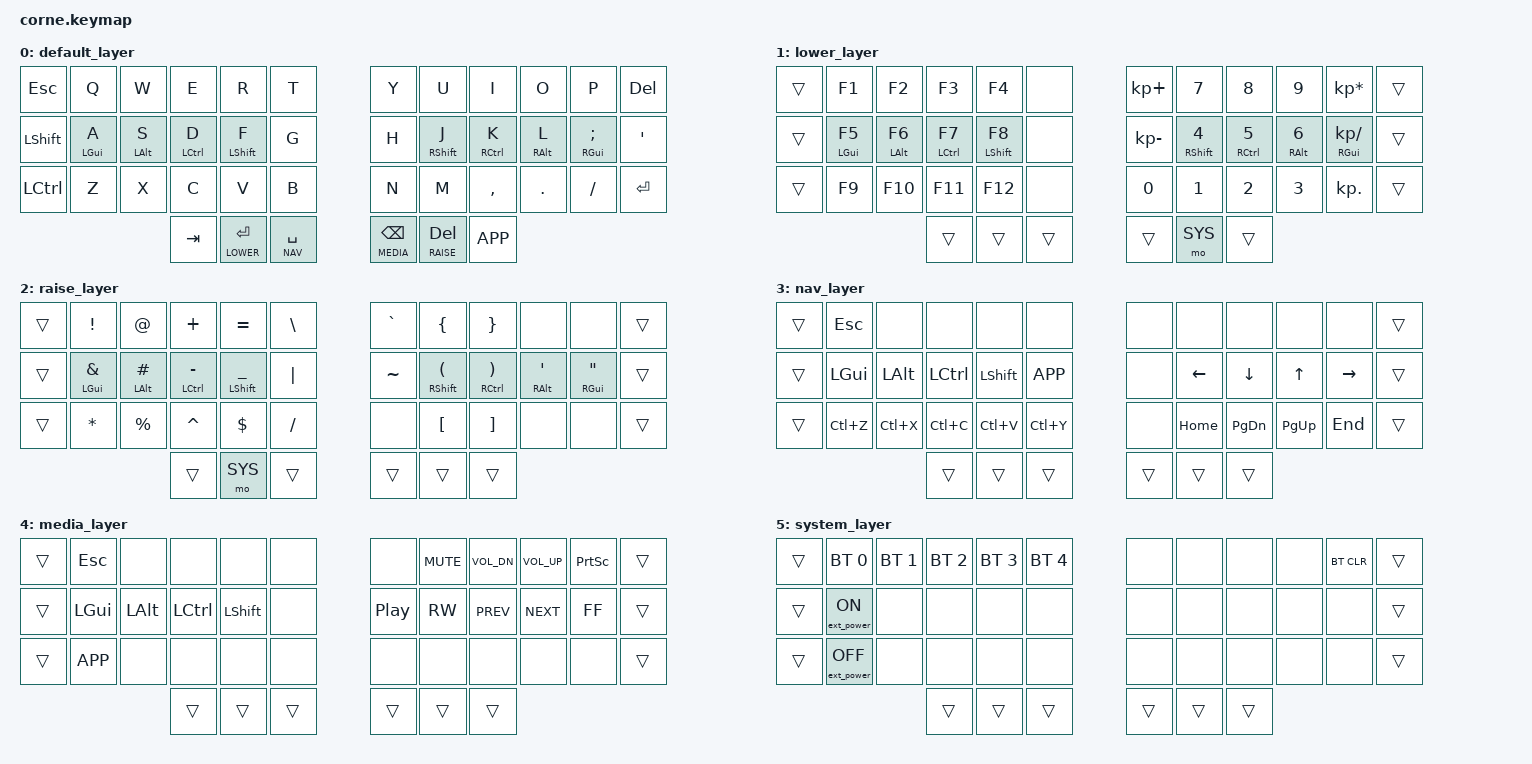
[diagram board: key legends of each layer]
/*
 * Copyright (c) 2020 The ZMK Contributors
 *
 * SPDX-License-Identifier: MIT
 */

#include <behaviors.dtsi>
#include <dt-bindings/zmk/keys.h>
#include <dt-bindings/zmk/bt.h>
#include <dt-bindings/zmk/ext_power.h>

#define DEFAULT 0
#define LOWER   1
#define RAISE   2
#define NAV     3
#define MEDIA   4
#define SYS     5

/ {
	behaviors {
		ht: hold_tap {
			compatible = "zmk,behavior-hold-tap";
			label = "HOLD_TAP";
			#binding-cells = <2>;
			tapping-term-ms = <200>;
			flavor = "tap-preferred";
			bindings = <&kp>, <&kp>;
		};

		hm: homerow_mods {
			compatible = "zmk,behavior-hold-tap";
			label = "HOMEROW_MODS";
			#binding-cells = <2>;
			tapping-term-ms = <200>;
			quick_tap_ms = <200>;
			flavor = "balanced";  //If this config does not work for you, try the flavor "balanced" with a medium tapping-term-ms such as 200ms.
			bindings = <&kp>, <&kp>;
		};
	};
	
	keymap {
		compatible = "zmk,keymap";

// Modifiers (hold)
// -----------------------------------------------------------------------------------------
// |    |       |       |      |       |     |        |       |       |      |     |       |    |
// |    | SUPER |  ALT  | CTRL | SHIFT |     |        |       | SHIFT | CTRL | ALT | SUPER |    |
// |    |       |       |      |       |     |        |       |       |      |     |       |    |
//                      |      | LOWER | NAV |        | MEDIA | RAISE |      |


		default_layer {
// -----------------------------------------------------------------------------------------
// | ESC |  Q  |  W  |  E  |  R  |  T  |   |  Y  |  U  |  I  |  O  |  P  | DEL |
// |SHFT |  A  |  S  |  D  |  F  |  G  |   |  H  |  J  |  K  |  L  |  ;  |  '  |
// |CTRL |  Z  |  X  |  C  |  V  |  B  |   |  N  |  M  |  ,  |  .  |  /  | ENT |
//                   | TAB | ENT | SPC |   | BKS | DEL | APP |
			bindings = <
&kp ESC		&kp Q		&kp W		&kp E		&kp R		&kp T		&kp Y	&kp U		&kp I		&kp O		&kp P			&kp DEL
&kp LSHFT	&hm LGUI A	&hm LALT S	&hm LCTRL D	&hm LSHFT F	&kp G		&kp H	&hm RSHFT J	&hm RCTRL K	&hm RALT L	&hm RGUI SEMI	&kp SQT
&kp LCTRL	&kp Z		&kp X		&kp C		&kp V		&kp B		&kp N	&kp M		&kp COMMA	&kp DOT		&kp FSLH		&kp RET
						&kp TAB		&lt LOWER RET	&lt NAV SPACE		&lt MEDIA BSPC		&lt RAISE DEL	&kp K_APP
			>;
		};

		lower_layer {
// -----------------------------------------------------------------------------------------
// | ___ | F1  | F2  | F3  | F4  |     |   |  +  |  7  |  8  |  9  |  *  | ___ |
// | ___ | F5  | F6  | F7  | F8  |     |   |  -  |  4  |  5  |  6  |  /  | ___ |
// | ___ | F9  | F10 | F11 | F12 |     |   |  0  |  1  |  2  |  3  |  .  | ___ |
//                   | ___ | ___ | ___ |   | ___ | ___ | ___ |
			bindings = <
&trans	&kp F1		&kp F2		&kp F3			&kp F4			&none		&kp KP_PLUS		&kp N7			&kp N8			&kp N9		&kp KP_MULTIPLY		&trans
&trans	&hm LGUI F5	&hm LALT F6	&hm LCTRL F7	&hm LSHFT F8	&none		&kp KP_MINUS	&hm RSHFT N4	&hm RCTRL N5	&hm RALT N6	&hm RGUI KP_SLASH	&trans
&trans	&kp F9		&kp F10		&kp F11			&kp F12			&none		&kp N0			&kp N1			&kp N2			&kp N3		&kp KP_DOT			&trans
												&trans	&trans	&trans		&trans	&mo SYS	&trans
			>;
		};


		raise_layer {
// -----------------------------------------------------------------------------------------
// | ___ |  !  |  @  |  +  |  =  |  \  |   |  `  |  {  |  }  |     |     | ___ |
// | ___ |  &  |  #  |  -  |  _  |  |  |   |  ~  |  (  |  )  |  '  |  "  | ___ |
// | ___ |  *  |  %  |  ^  |  $  |  /  |   |     |  [  |  ]  |     |     | ___ |
//                   | ___ | ___ | ___ |   | ___ | ___ | ___ |
			bindings = <
&trans	&kp EXCL		&kp AT			&kp PLUS		&kp EQUAL		&kp BSLH		&kp GRAVE	&kp LBRC		&kp RBRC		&none			&none			&trans
&trans	&hm LGUI AMPS	&hm LALT HASH	&hm LCTRL MINUS	&hm LSHFT UNDER	&kp PIPE		&kp TILDE	&hm RSHFT LPAR	&hm RCTRL RPAR	&hm RALT SQT	&hm RGUI DQT	&trans
&trans	&kp STAR		&kp PRCNT		&kp CARET		&kp DLLR		&kp FSLH		&none		&kp LBKT		&kp RBKT		&none			&none			&trans
														&trans	&mo SYS	&trans			&trans	&trans	&trans
			>;
		};

		nav_layer {
// -----------------------------------------------------------------------------------------
// | ___ | ESC |     |     |     |     |   |     |     |     |     |     | ___ |
// | ___ |SUPER| ALT |CTRL |SIHFT| APP |   |     |LEFT |DOWN | UP  |RIGHT| ___ |
// | ___ |UNDO | CUT |COPY |PASTE|REDO |   |     |HOME |PG_DN|PG_UP| END | ___ |
//                   | ___ | ___ | ___ |   | ___ | ___ | ___ |
			bindings = <
&trans	&kp ESC		&none		&none		&none		&none			&none	&none		&none		&none		&none 		&trans
&trans	&kp LGUI	&kp LALT	&kp LCTRL	&kp LSHFT	&kp K_APP		&none	&kp LEFT	&kp DOWN	&kp UP		&kp RIGHT	&trans
&trans	&kp LC(Z)	&kp LC(X)	&kp LC(C)	&kp LC(V)	&kp LC(Y)		&none	&kp HOME	&kp PG_DN	&kp PG_UP	&kp END		&trans
											&trans	&trans	&trans		&trans	&trans	&trans
			>;
		};

		media_layer {
// -----------------------------------------------------------------------------------------
// | ___ |     |     |     |     |     |   |     |MUTE |VL_DN|VL_UP|PSCRN| ___ |
// | ___ |     |     |     |     |     |   |PAUSE|RWND |PREV |NEXT |FFORW| ___ |
// | ___ |     |     |     |     |     |   |     |HOME |PG_DN|PG_UP| END | ___ |
//                   | ___ | ___ | ___ |   | ___ | ___ | ___ |
			bindings = <
&trans	&kp ESC		&none		&none		&none		&none		&none		&kp K_MUTE	&kp C_VOL_DN	&kp C_VOL_UP 	&kp PSCRN	&trans
&trans	&kp LGUI	&kp LALT	&kp LCTRL	&kp LSHFT	&none		&kp C_PP	&kp C_RW	&kp C_PREV		&kp C_NEXT		&kp C_FF	&trans
&trans	&kp K_APP	&none		&none		&none		&none		&none		&none		&none			&none			&none		&trans
										&trans	&trans	&trans		&trans	&trans	&trans
			>;
		};

		system_layer {
// -----------------------------------------------------------------------------------------
// | ___ | BT0 | BT1 | BT2 | BT3 | BT4 |   |     |     |     |     | BTC | ___ |
// | ___ |     |     |     |     |     |   |     |     |     |     |     | ___ |
// | ___ |     |     |     |     |     |   |     |     |     |     |     | ___ |
//                   | ___ | ___ | ___ |   | ___ | ___ | ___ |
			bindings = <
&trans	&bt BT_SEL 0		&bt BT_SEL 1	&bt BT_SEL 2	&bt BT_SEL 3	&bt BT_SEL 4		&none	&none	&none	&none	&bt BT_CLR	&trans
&trans	&ext_power EP_ON	&none			&none			&none 			&none				&none	&none	&none	&none	&none		&trans
&trans	&ext_power EP_OFF	&none			&none			&none			&none				&none	&none	&none	&none	&none		&trans
															&trans	&trans	&trans				&trans	&trans	&trans
			>;
		};

	};
};
